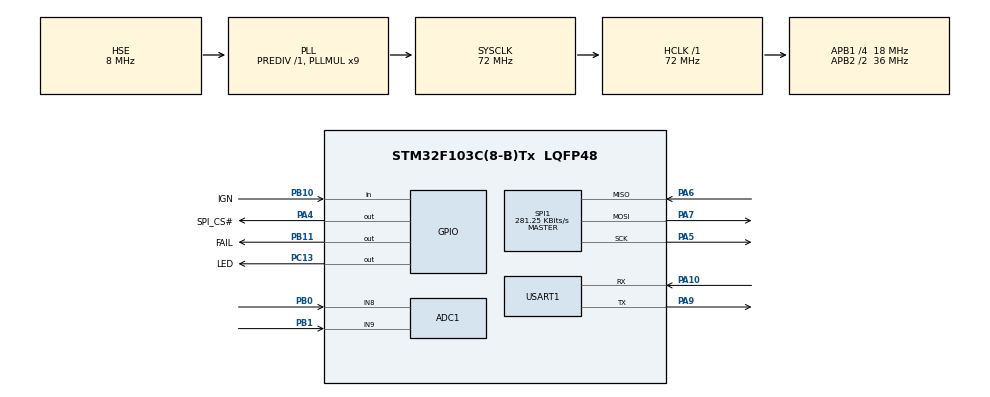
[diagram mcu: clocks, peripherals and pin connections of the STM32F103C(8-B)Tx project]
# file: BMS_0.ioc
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ADC1.Channel-0\#ChannelRegularConversion=ADC_CHANNEL_8
ADC1.NbrOfConversionFlag=1
ADC1.Rank-0\#ChannelRegularConversion=1
ADC1.SamplingTime-0\#ChannelRegularConversion=ADC_SAMPLETIME_1CYCLE_5
ADC1.master=1
Mcu.Family=STM32F1
Mcu.Name=STM32F103C(8-B)Tx
Mcu.Package=LQFP48
NVIC.PriorityGroup=NVIC_PRIORITYGROUP_4
PA10.Mode=Asynchronous
PA10.Signal=USART1_RX
PA13.Mode=Serial_Wire
PA13.Signal=SYS_JTMS-SWDIO
PA14.Mode=Serial_Wire
PA14.Signal=SYS_JTCK-SWCLK
PA4.GPIO_Label=SPI_CS\#
PA4.Signal=GPIO_Output
PA5.Mode=Full_Duplex_Master
PA5.Signal=SPI1_SCK
PA6.Mode=Full_Duplex_Master
PA6.Signal=SPI1_MISO
PA7.Mode=Full_Duplex_Master
PA7.Signal=SPI1_MOSI
PA9.Mode=Asynchronous
PA9.Signal=USART1_TX
PB0.Signal=ADCx_IN8
PB1.Signal=ADCx_IN9
PB10.GPIO_Label=IGN
PB10.Signal=GPIO_Input
PB11.GPIO_Label=FAIL
PB11.Signal=GPIO_Output
PC13-TAMPER-RTC.GPIO_Label=LED
PC13-TAMPER-RTC.Signal=GPIO_Output
PD0-OSC_IN.Mode=HSE-External-Oscillator
PD0-OSC_IN.Signal=RCC_OSC_IN
PD1-OSC_OUT.Mode=HSE-External-Oscillator
PD1-OSC_OUT.Signal=RCC_OSC_OUT
ProjectManager.HeapSize=0x200
ProjectManager.StackSize=0x400
ProjectManager.TargetToolchain=CMake
RCC.ADCPresc=RCC_ADCPCLK2_DIV6
RCC.AHBFreq_Value=72000000
RCC.APB1CLKDivider=RCC_HCLK_DIV4
RCC.APB1Freq_Value=18000000
RCC.APB1TimFreq_Value=36000000
RCC.APB2CLKDivider=RCC_HCLK_DIV2
RCC.APB2Freq_Value=36000000
RCC.APB2TimFreq_Value=72000000
RCC.HCLKFreq_Value=72000000
RCC.PLLMUL=RCC_PLL_MUL9
RCC.PLLSourceVirtual=RCC_PLLSOURCE_HSE
RCC.SYSCLKFreq_VALUE=72000000
RCC.SYSCLKSource=RCC_SYSCLKSOURCE_PLLCLK
RCC.USBFreq_Value=72000000
SH.ADCx_IN8.0=ADC1_IN8,IN8
SH.ADCx_IN9.0=ADC1_IN9,IN9
SPI1.BaudRatePrescaler=SPI_BAUDRATEPRESCALER_128
SPI1.CLKPhase=SPI_PHASE_2EDGE
SPI1.CLKPolarity=SPI_POLARITY_HIGH
SPI1.CalculateBaudRate=281.25 KBits/s
SPI1.Direction=SPI_DIRECTION_2LINES
SPI1.Mode=SPI_MODE_MASTER
SPI1.VirtualType=VM_MASTER
USART1.VirtualMode=VM_ASYNC
board=custom

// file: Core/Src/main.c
/* USER CODE BEGIN Header */
/**
  ******************************************************************************
  * @file           : main.c
  * @brief          : Main program body
  ******************************************************************************
  * @attention
  *
  * Copyright (c) 2026 STMicroelectronics.
  * All rights reserved.
  *
  * This software is licensed under terms that can be found in the LICENSE file
  * in the root directory of this software component.
  * If no LICENSE file comes with this software, it is provided AS-IS.
  *
  ******************************************************************************
  */
/* USER CODE END Header */
#include "main.h"
#include "adc.h"
#include "spi.h"
#include "usart.h"
#include "gpio.h"

/* USER CODE BEGIN Includes */
#include <stdio.h>
#include "LTC6804-1.h"
/* USER CODE END Includes */

/* USER CODE BEGIN PD */
#define TOTAL_IC 1
/* USER CODE END PD */

void SystemClock_Config(void);

/* USER CODE BEGIN 0 */
uint8_t tx_cfg[1][6] = {};

void init_cfg(void) {
    int i;

    for (i = 0; i < TOTAL_IC; i++) {
        tx_cfg[i][0] = 0xFE; // GPIO下拉关断 | REFON=1 | DTEN=1 | ADCOPT=0
        tx_cfg[i][1] = 0x4C; // VUV[7:0] = 0x4C
        tx_cfg[i][2] = 0x18; // VOV[3:0]=0x1, VUV[11:8]=0x8
        tx_cfg[i][3] = 0xA4; // VOV[11:4] = 0xA4
        tx_cfg[i][4] = 0x00; // DCC[8:1] = 0x00 (不放电)
        tx_cfg[i][5] = 0xF0; // DCTO[3:0]=0xF (120min), DCC[12:9]=0
    }
}

void MY_LTC6804_rdcv_reg(uint8_t reg, //Determines which cell voltage register is read back 确定读回哪个单元电压寄存器
                         uint8_t total_ic, //the number of ICs in the
                         uint8_t *data //An array of the unparsed cell codes  未解析单元格代码的数组
) {
    const uint8_t REG_LEN = 8; //number of bytes in each ICs register + 2 bytes for the PEC  每个ICs寄存器的字节数+ 2字节的PEC
    uint8_t cmd[4];
    uint16_t cmd_pec;

    //1
    if (reg == 1) //1: RDCVA
    {
        cmd[1] = 0x04;
        cmd[0] = 0x00;
    } else if (reg == 2) //2: RDCVB
    {
        cmd[1] = 0x06;
        cmd[0] = 0x00;
    } else if (reg == 3) //3: RDCVC
    {
        cmd[1] = 0x08;
        cmd[0] = 0x00;
    } else if (reg == 4) //4: RDCVD
    {
        cmd[1] = 0x0A;
        cmd[0] = 0x00;
    }

    //2
    cmd_pec = pec15_calc(2, cmd);
    cmd[2] = (uint8_t) (cmd_pec >> 8);
    cmd[3] = (uint8_t) (cmd_pec);

    //3
    wakeup_idle(); //This will guarantee that the LTC6804 isoSPI port is awake. This command can be removed.
    wakeup_idle();
    wakeup_idle();
    wakeup_idle();
    wakeup_idle();
    //4
    HAL_GPIO_WritePin(GPIOA,GPIO_PIN_4, GPIO_PIN_RESET);
    spi_write_read(cmd, 4, data, (REG_LEN * total_ic));
    HAL_GPIO_WritePin(GPIOA,GPIO_PIN_4, GPIO_PIN_SET);
}

/* USER CODE END 0 */

int main(void) {

    /* MCU Configuration--------------------------------------------------------*/

    /* Reset of all peripherals, Initializes the Flash interface and the Systick. */
    HAL_Init();

    /* Configure the system clock */
    SystemClock_Config();

    /* Initialize all configured peripherals */
    MX_GPIO_Init();
    MX_ADC1_Init();
    MX_USART1_UART_Init();
    MX_SPI1_Init();
    /* USER CODE BEGIN 2 */
    LTC6804_initialize();
    wakeup_sleep();
    volatile uint16_t cell_voltage[3][12] = {0}, temp = 0;
    volatile uint8_t origin_data[24] = {}, auxregdata[16] = {};

    char output_buf[256] = "";
    /* USER CODE END 2 */

    /* Infinite loop */
    /* USER CODE BEGIN WHILE */
    while (1) {
        wakeup_sleep();
        LTC6804_wrcfg(2, tx_cfg);
        HAL_Delay(1);
        LTC6804_adcvax();
        HAL_Delay(20);
        for (int i = 1; i < 5; ++i) {
            LTC6804_rdcv_reg(i, 3, origin_data);
            for (int j = 0; j < 3; j++) {
                cell_voltage[0][i * 3 - 3 + j] = origin_data[2 * j] + (origin_data[2 * j + 1] << 8);
                /*
                 sniprintf(output_buf, 32, "CELL%2d %.4f\n", i * 3 - 2 + j,
                          (float) cell_voltage[0][i * 3 - 3 + j] / 10000);
                HAL_UART_Transmit(&huart1, (uint8_t *) output_buf, 16, 10);
                 */
            }
            for (int j = 4; j < 7; j++) {
                cell_voltage[1][i * 3 - 7 + j] = origin_data[2 * j] + (origin_data[2 * j + 1] << 8);
                /*
                 sniprintf(output_buf, 32, "CELL%2d %.4f\n", i * 3 - 2 + j,
                          (float) cell_voltage[0][i * 3 - 3 + j] / 10000);
                HAL_UART_Transmit(&huart1, (uint8_t *) output_buf, 16, 10);
                 */
            }
            for (int j = 8; j < 11; j++) {
                cell_voltage[2][i * 3 - 11 + j] = origin_data[2 * j] + (origin_data[2 * j + 1] << 8);
                /*
                 sniprintf(output_buf, 32, "CELL%2d %.4f\n", i * 3 - 2 + j,
                          (float) cell_voltage[0][i * 3 - 3 + j] / 10000);
                HAL_UART_Transmit(&huart1, (uint8_t *) output_buf, 16, 10);
                 */
            }
            uint16_t pec_2 = pec15_calc(6, origin_data + 8);
            uint8_t pec = (((pec_2 & 0xff00) >> 8) == origin_data[14]) && ((pec_2 & 0x00ff) == origin_data[15]);

            HAL_Delay(10);
        }
        //LTC6804_adax();
        HAL_Delay(10);
        LTC6804_rdaux_reg(1, 2, auxregdata);
        //LTC6804_rdaux_reg(2, 1, auxregdata);
        temp = auxregdata[0] | (auxregdata[1] << 8);

        /* USER CODE END WHILE */

        /* USER CODE BEGIN 3 */
        HAL_Delay(50);
        HAL_GPIO_TogglePin(LED_GPIO_Port,LED_Pin);
    }
    /* USER CODE END 3 */
}

void SystemClock_Config(void) {
    RCC_OscInitTypeDef RCC_OscInitStruct = {0};
    RCC_ClkInitTypeDef RCC_ClkInitStruct = {0};
    RCC_PeriphCLKInitTypeDef PeriphClkInit = {0};

    /** Initializes the RCC Oscillators according to the specified parameters
    * in the RCC_OscInitTypeDef structure.
    */
    RCC_OscInitStruct.OscillatorType = RCC_OSCILLATORTYPE_HSE;
    RCC_OscInitStruct.HSEState = RCC_HSE_ON;
    RCC_OscInitStruct.HSEPredivValue = RCC_HSE_PREDIV_DIV1;
    RCC_OscInitStruct.HSIState = RCC_HSI_ON;
    RCC_OscInitStruct.PLL.PLLState = RCC_PLL_ON;
    RCC_OscInitStruct.PLL.PLLSource = RCC_PLLSOURCE_HSE;
    RCC_OscInitStruct.PLL.PLLMUL = RCC_PLL_MUL9;
    if (HAL_RCC_OscConfig(&RCC_OscInitStruct) != HAL_OK) {
        Error_Handler();
    }

    /** Initializes the CPU, AHB and APB buses clocks
    */
    RCC_ClkInitStruct.ClockType = RCC_CLOCKTYPE_HCLK | RCC_CLOCKTYPE_SYSCLK
                                  | RCC_CLOCKTYPE_PCLK1 | RCC_CLOCKTYPE_PCLK2;
    RCC_ClkInitStruct.SYSCLKSource = RCC_SYSCLKSOURCE_PLLCLK;
    RCC_ClkInitStruct.AHBCLKDivider = RCC_SYSCLK_DIV1;
    RCC_ClkInitStruct.APB1CLKDivider = RCC_HCLK_DIV4;
    RCC_ClkInitStruct.APB2CLKDivider = RCC_HCLK_DIV2;

    if (HAL_RCC_ClockConfig(&RCC_ClkInitStruct, FLASH_LATENCY_2) != HAL_OK) {
        Error_Handler();
    }
    PeriphClkInit.PeriphClockSelection = RCC_PERIPHCLK_ADC;
    PeriphClkInit.AdcClockSelection = RCC_ADCPCLK2_DIV6;
    if (HAL_RCCEx_PeriphCLKConfig(&PeriphClkInit) != HAL_OK) {
        Error_Handler();
    }
}

void Error_Handler(void) {
    __disable_irq();
    while (1) {
    }
}
